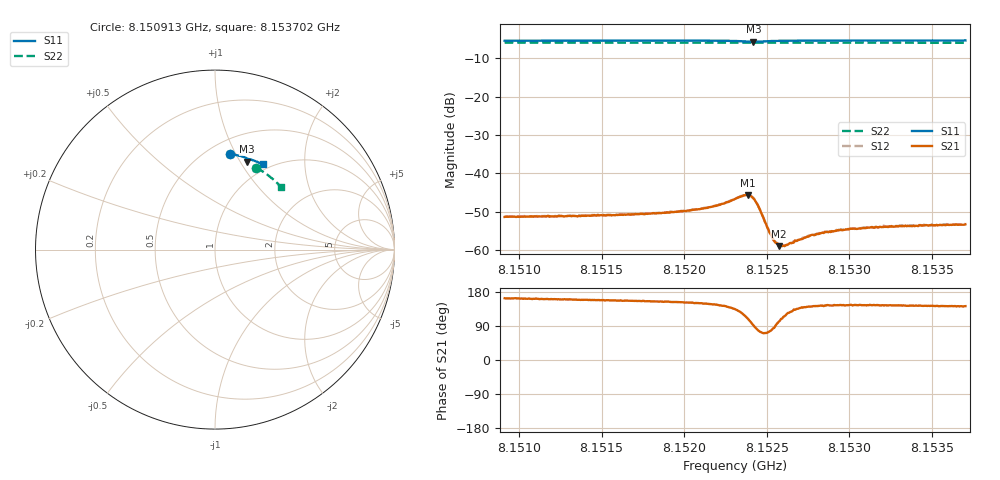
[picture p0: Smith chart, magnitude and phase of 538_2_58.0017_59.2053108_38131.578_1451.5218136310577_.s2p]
#  HZ  S  RI  R  50.00
! Rohde & Schwarz Vector Network Analyzer
! Rohde-Schwarz,ZNB20-2Port,1311601062101988,3.16
! Created: UTC 3/21/2024, 1:14:23 AM
! freq[Hz]  re:S11  im:S11  re:S21  im:S21  re:S12  im:S12  re:S22  im:S22
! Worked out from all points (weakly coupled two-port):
!   401 points, 8.150913 GHz to 8.153702 GHz, reference 50 ohm
!   highest |S21| = -45.70 dB at 8.152384 GHz (marker M1); lowest = -59.0 dB at 8.152572 GHz (marker M2)
!   lowest |S11| = -5.6 dB at 8.152419 GHz (marker M3), VSWR 3.18, Z = 39.8 + j53.6 ohm
!   |S11| at or under -10 dB: nowhere
!   |S22| runs from -5.9 to -5.8 dB; largest |S21 - S12| = 0.00013
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8.1509133e9  0.0848 0.5325  -0.00257 0.000788  -0.00257 0.000853  0.2293 0.4562
8.1513804e9  0.1174 0.5271  -0.0026 0.001  -0.00259 0.00102  0.2555 0.4414
8.1518474e9  0.1499 0.5193  -0.00271 0.00133  -0.00272 0.00135  0.2807 0.4252
8.1520077e9  0.1615 0.5159  -0.00282 0.00151  -0.00284 0.00157  0.2889 0.4194
8.1521262e9  0.1704 0.5124  -0.00299 0.00181  -0.003 0.00188  0.2951 0.4148
8.1522308e9  0.1789 0.5082  -0.0032 0.00239  -0.00316 0.00244  0.3003 0.4107
8.1523075e9  0.1849 0.5021  -0.00321 0.0033  -0.0032 0.00338  0.3043 0.4074
8.1523493e9  0.1865 0.4967  -0.00277 0.00417  -0.00274 0.00426  0.3062 0.4056
8.1523842e9  0.1844 0.4917  -0.00173 0.00489  -0.00168 0.00495  0.3078 0.4043
8.152419e9  0.1791 0.4903  -0.000105 0.00468  -8.07e-05 0.00475  0.3093 0.4028
8.1524539e9  0.1755 0.4947  0.000843 0.0034  0.000883 0.00341  0.3108 0.4019
8.1525027e9  0.1782 0.5011  0.000605 0.00186  0.000631 0.00189  0.3132 0.4002
8.1525305e9  0.1813 0.503  0.00026 0.00146  0.000311 0.00143  0.3148 0.3991
8.1525584e9  0.1846 0.5039  -9.7e-05 0.00121  -9.31e-05 0.00124  0.3162 0.398
8.1525724e9  0.1861 0.5039  -0.000214 0.0011  -0.00021 0.00115  0.317 0.3975
8.1525933e9  0.1881 0.5041  -0.000374 0.00106  -0.000395 0.00104  0.318 0.3967
8.1526212e9  0.1908 0.504  -0.000615 0.000987  -0.000598 0.000981  0.3194 0.3955
8.1527048e9  0.1982 0.5027  -0.00102 0.000923  -0.00103 0.000948  0.3235 0.392
8.1527745e9  0.2037 0.501  -0.00122 0.000979  -0.00118 0.000978  0.3269 0.389
8.1529348e9  0.2153 0.4972  -0.00146 0.00104  -0.00148 0.00107  0.3345 0.3823
8.1532416e9  0.2358 0.4887  -0.00164 0.00118  -0.00163 0.00121  0.3487 0.3688
8.1537016e9  0.2649 0.4745  -0.0017 0.00132  -0.00171 0.00136  0.3687 0.3477
